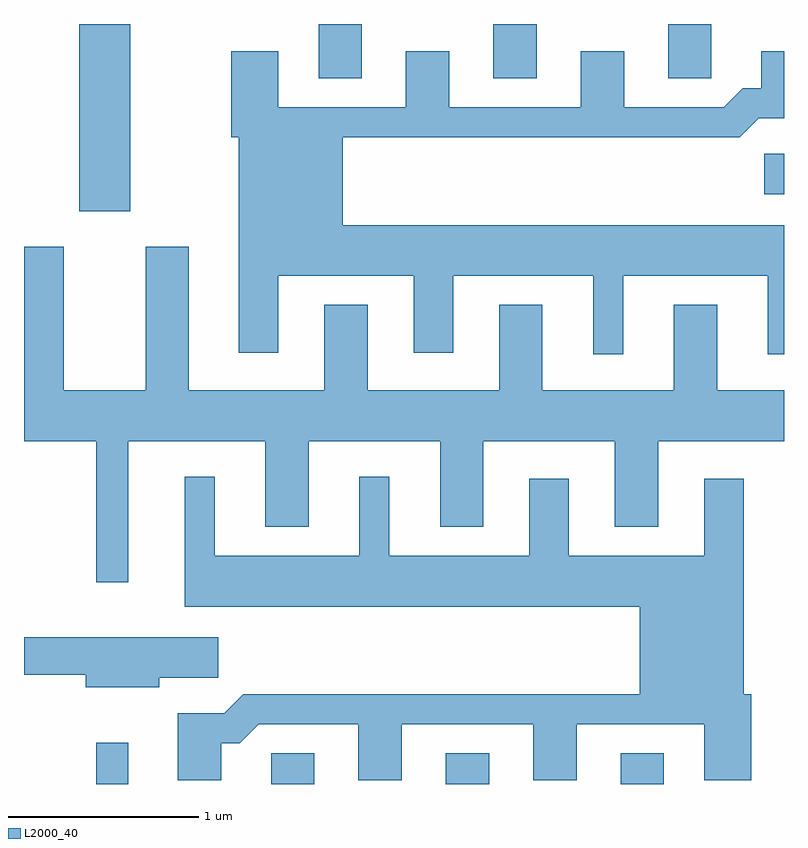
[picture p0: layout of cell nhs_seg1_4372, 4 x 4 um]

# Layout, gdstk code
import gdstk
lib = gdstk.Library(unit=1e-6, precision=1e-09)
def R(c, l, rs):  # rectangles x0, y0, x1, y1
    for r in rs: c.add(gdstk.rectangle(r[:2], r[2:], *l))
def A(c, l, x, y, w, h, nx, ny, dx, dy):  # array of equal rectangles
    R(c, l, [(x+i*dx, y+j*dy, x+i*dx+w, y+j*dy+h) for i in range(nx) for j in range(ny)])
def P(c, l, *ps):  # polygons
    for p in ps: c.add(gdstk.Polygon(p, *l))
L2000_40 = (2000, 40)

nhs_seg1_4372 = lib.new_cell('nhs_seg1_4372')
A(nhs_seg1_4372, L2000_40, 316.911, 957.712, 0.228, 0.162, 3, 1, 0.92, 0)
A(nhs_seg1_4372, L2000_40, 317.161, 961.426, 0.228, 0.286, 3, 1, 0.92, 0)
R(nhs_seg1_4372, L2000_40, [(315.991,957.712,316.159,957.928), (315.901,960.726,316.169,961.712), (319.506,960.816,319.611,961.029)])
P(nhs_seg1_4372, L2000_40, [(318.764,960.386),(319.526,960.386),(319.526,959.973),(319.611,959.973),(319.611,960.654),(317.289,960.654),(317.289,961.116),(319.377,961.116),(319.477,961.216),(319.611,961.216),(319.611,961.569),(319.491,961.569),(319.491,961.374),(319.394,961.374),(319.294,961.274),(318.769,961.274),(318.769,961.569),(318.541,961.569),(318.541,961.274),(317.849,961.274),(317.849,961.569),(317.621,961.569),(317.621,961.274),(316.949,961.274),(316.949,961.569),(316.701,961.569),(316.701,961.116),(316.741,961.116),(316.741,959.981),(316.949,959.981),(316.949,960.386),(317.661,960.386),(317.661,959.981),(317.869,959.981),(317.869,960.386),(318.606,960.386),(318.606,959.973),(318.764,959.973)],
  [(316.159,959.516),(316.881,959.516),(316.881,959.066),(317.109,959.066),(317.109,959.516),(317.801,959.516),(317.801,959.066),(318.029,959.066),(318.029,959.516),(318.721,959.516),(318.721,959.066),(318.949,959.066),(318.949,959.516),(319.611,959.516),(319.611,959.784),(319.259,959.784),(319.259,960.234),(319.031,960.234),(319.031,959.784),(318.339,959.784),(318.339,960.234),(318.111,960.234),(318.111,959.784),(317.419,959.784),(317.419,960.234),(317.191,960.234),(317.191,959.784),(316.479,959.784),(316.479,960.539),(316.251,960.539),(316.251,959.784),(315.819,959.784),(315.819,960.539),(315.611,960.539),(315.611,959.516),(315.991,959.516),(315.991,958.773),(316.159,958.773)],
  [(316.649,957.926),(316.747,957.926),(316.847,958.026),(317.371,958.026),(317.371,957.731),(317.599,957.731),(317.599,958.026),(318.291,958.026),(318.291,957.731),(318.519,957.731),(318.519,958.026),(319.191,958.026),(319.191,957.731),(319.439,957.731),(319.439,958.184),(319.399,958.184),(319.399,959.319),(319.191,959.319),(319.191,958.914),(318.479,958.914),(318.479,959.319),(318.271,959.319),(318.271,958.914),(317.534,958.914),(317.534,959.328),(317.376,959.328),(317.376,958.914),(316.614,958.914),(316.614,959.328),(316.456,959.328),(316.456,958.646),(318.851,958.646),(318.851,958.184),(316.764,958.184),(316.664,958.084),(316.421,958.084),(316.421,957.731),(316.649,957.731)],
  [(316.324,958.271),(316.634,958.271),(316.634,958.484),(315.611,958.484),(315.611,958.286),(315.936,958.286),(315.936,958.221),(316.324,958.221)])

lib.write_gds('nhs_seg1_4372.gds')
